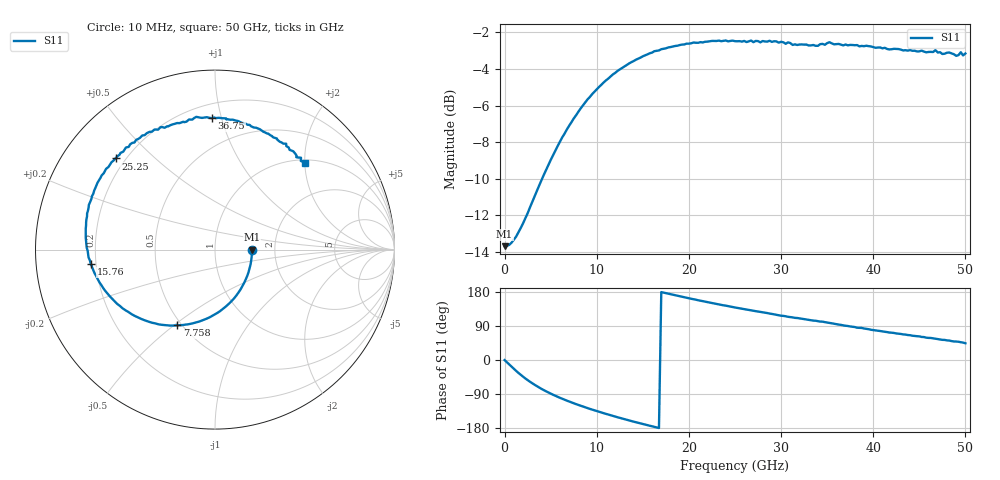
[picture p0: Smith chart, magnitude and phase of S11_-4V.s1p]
!Agilent Technologies,N5227A,US51270434,A.10.00.00
!Agilent N5227A: A.10.00.00
!Date: Thursday, February 26, 2026 12:00:09
!Correction: S11(Full 1 Port(1))
!S1P File: Measurement: S11:
# Hz S  dB  R 50
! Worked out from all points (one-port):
!   201 points, 10 MHz to 50 GHz, reference 50 ohm
!   lowest |S11| = -13.7 dB at 10 MHz (marker M1), VSWR 1.52, Z = 76 - j0.148 ohm
!   |S11| at or under -10 dB: start of sweep to 4.083 GHz
!   S11 on the Smith chart (normalised r, x): 10 MHz: 1.52, -0.00; 7.758 GHz: 0.47, -0.51; 15.76 GHz: 0.18, -0.06; 25.25 GHz: 0.16, +0.38; 36.75 GHz: 0.30, +0.93; 50 GHz: 1.06, +1.99
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1e7  -13.70 -0.3
1.25975e9  -13.18 -28.7
3.0094e9  -11.28 -61.4
4.75905e9  -9.23 -85.7
6.25875e9  -7.74 -102.3
7.75845e9  -6.54 -116.4
1.0008e10  -5.11 -134.8
1.25075e10  -4.03 -152.7
1.425715e10  -3.49 -164.2
1.575685e10  -3.14 -173.5
1.70066e10  -2.92 179.2
1.875625e10  -2.72 169.4
2.05059e10  -2.55 160.5
2.20056e10  -2.50 152.9
2.5005e10  -2.48 138.6
2.525495e10  -2.48 137.5
2.875425e10  -2.45 122.5
3.075385e10  -2.54 114.0
3.125375e10  -2.68 112.5
3.525295e10  -2.53 98.0
3.675265e10  -2.71 91.3
3.75025e10  -2.68 88.5
3.925215e10  -2.73 82.3
4.375125e10  -2.99 65.9
4.675065e10  -2.97 56.1
4.75005e10  -3.18 53.2
4.925015e10  -3.24 48.2
5e10  -3.15 44.2
